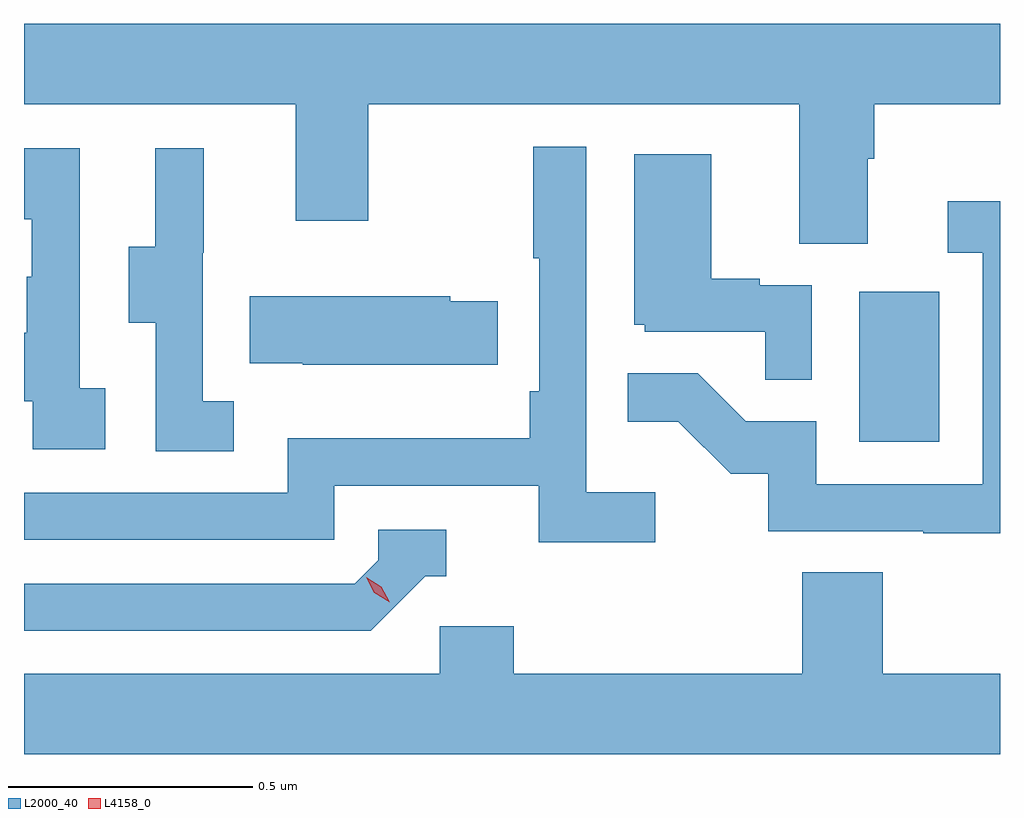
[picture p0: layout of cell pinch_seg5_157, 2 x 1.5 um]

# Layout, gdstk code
import gdstk
lib = gdstk.Library(unit=1e-6, precision=1e-09)
def R(c, l, rs):  # rectangles x0, y0, x1, y1
    for r in rs: c.add(gdstk.rectangle(r[:2], r[2:], *l))
def P(c, l, *ps):  # polygons
    for p in ps: c.add(gdstk.Polygon(p, *l))
L2000_40 = (2000, 40)
L4158_0 = (4158, 0)

pinch_seg5_157 = lib.new_cell('pinch_seg5_157')
R(pinch_seg5_157, L2000_40, [(1114.19,885.372,1114.354,885.679)])
P(pinch_seg5_157, L2000_40, [(1112.478,886.064),(1113.035,886.064),(1113.035,885.825),(1113.183,885.825),(1113.183,886.064),(1114.067,886.064),(1114.067,885.778),(1114.207,885.778),(1114.207,885.952),(1114.22,885.952),(1114.22,886.064),(1114.478,886.064),(1114.478,886.228),(1112.478,886.228)],
  [(1113.772,885.268),(1113.63,885.268),(1113.63,885.976),(1113.522,885.976),(1113.522,885.748),(1113.534,885.748),(1113.534,885.475),(1113.514,885.475),(1113.514,885.379),(1113.018,885.379),(1113.018,885.267),(1112.478,885.267),(1112.478,885.171),(1113.114,885.171),(1113.114,885.282),(1113.533,885.282),(1113.533,885.166),(1113.772,885.166)],
  [(1112.908,885.455),(1112.844,885.455),(1112.844,885.759),(1112.846,885.759),(1112.846,885.973),(1112.747,885.973),(1112.747,885.771),(1112.693,885.771),(1112.693,885.616),(1112.748,885.616),(1112.748,885.352),(1112.908,885.352)],
  [(1112.644,885.482),(1112.592,885.482),(1112.592,885.973),(1112.478,885.973),(1112.478,885.828),(1112.494,885.828),(1112.494,885.71),(1112.484,885.71),(1112.484,885.595),(1112.478,885.595),(1112.478,885.455),(1112.496,885.455),(1112.496,885.357),(1112.644,885.357)],
  [(1114.092,885.693),(1113.986,885.693),(1113.986,885.706),(1113.886,885.706),(1113.886,885.961),(1113.728,885.961),(1113.728,885.612),(1113.75,885.612),(1113.75,885.597),(1113.997,885.597),(1113.997,885.499),(1114.092,885.499)],
  [(1114.478,885.865),(1114.371,885.865),(1114.371,885.759),(1114.443,885.759),(1114.443,885.285),(1114.101,885.285),(1114.101,885.414),(1113.957,885.414),(1113.859,885.512),(1113.715,885.512),(1113.715,885.413),(1113.819,885.413),(1113.926,885.306),(1114.003,885.306),(1114.003,885.189),(1114.321,885.189),(1114.321,885.184),(1114.478,885.184)],
  [(1113.449,885.66),(1113.351,885.66),(1113.351,885.67),(1112.941,885.67),(1112.941,885.533),(1113.049,885.533),(1113.049,885.53),(1113.449,885.53)],
  [(1113.3,885.096),(1113.343,885.096),(1113.343,885.192),(1113.204,885.192),(1113.204,885.129),(1113.156,885.081),(1112.478,885.081),(1112.478,884.985),(1113.189,884.985)],
  [(1114.478,884.896),(1114.238,884.896),(1114.238,885.104),(1114.073,885.104),(1114.073,884.896),(1113.482,884.896),(1113.482,884.994),(1113.33,884.994),(1113.33,884.896),(1112.478,884.896),(1112.478,884.732),(1114.478,884.732)])
P(pinch_seg5_157, L4158_0, [(1113.227,885.043),(1113.196,885.062),(1113.179,885.094),(1113.179,885.094),(1113.179,885.094),(1113.21,885.075),(1113.227,885.043),(1113.227,885.043)])

lib.write_gds('pinch_seg5_157.gds')
